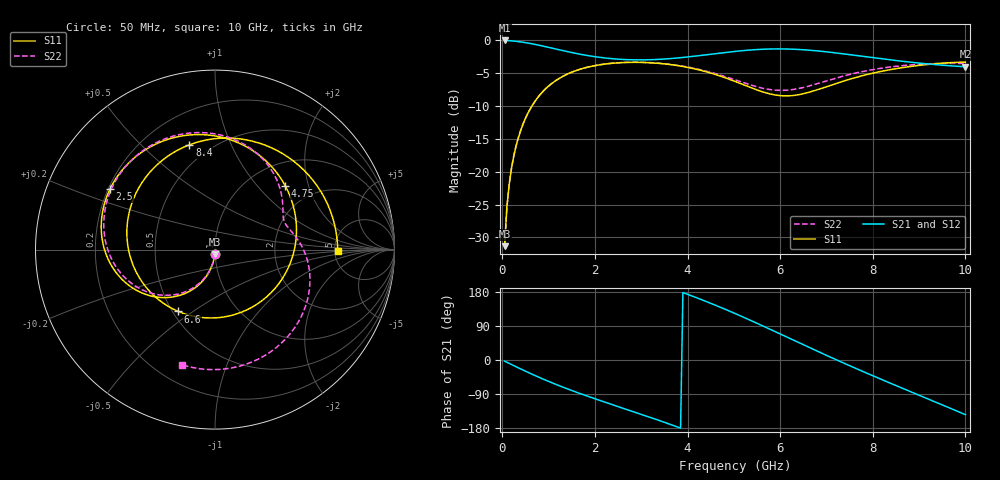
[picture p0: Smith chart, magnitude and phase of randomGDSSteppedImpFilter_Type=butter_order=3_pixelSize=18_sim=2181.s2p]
! freq	dB(S11)	phase(S11)	dB(S12)	phase(S12)
!  dB(S21)	phase(S21)	dB(S22)	phase(S22)
!S-par simulation data
#  GHz  S  DB  R 50
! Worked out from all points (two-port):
!   200 points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, 50 MHz to 10 GHz, reference 50 ohm
!   highest |S21| = -0.01 dB at 50 MHz (marker M1); lowest = -4.0 dB at 10 GHz (marker M2)
!   |S21| within 3 dB of the highest: start of sweep to 8.428 GHz
!   lowest |S11| = -31.3 dB at 50 MHz (marker M3), VSWR 1.06, Z = 49.8 - j2.7 ohm
!   |S11| at or under -10 dB: start of sweep to 639.2 MHz
!   |S22| runs from -31.3 to -3.3 dB; largest |S21 - S12| = 0
!   S11 on the Smith chart (normalised r, x): 50 MHz: 1.00, -0.05; 2.5 GHz: 0.21, +0.26; 4.75 GHz: 1.45, +1.43; 6.6 GHz: 0.53, -0.44; 8.4 GHz: 0.39, +0.71; 10 GHz: 5.32, -0.20
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0.05  -31.34 -93.0  -0.01 -3.0  -0.01 -3.0  -31.34 -93.2
0.1  -25.34 -96.2  -0.02 -6.1  -0.02 -6.1  -25.34 -96.5
0.2  -19.41 -102.2  -0.07 -12.0  -0.07 -12.0  -19.41 -102.9
0.5  -11.87 -119.3  -0.34 -29.5  -0.34 -29.5  -11.87 -121.0
1.05  -6.66 -147.9  -1.14 -59.0  -1.14 -59.0  -6.66 -151.3
1.75  -4.24 -179.4  -2.19 -91.6  -2.19 -91.6  -4.24 175.1
2.5  -3.41 150.1  -2.86 -122.9  -2.86 -122.9  -3.40 143.1
3.4  -3.51 112.9  -2.88 -160.1  -2.88 -160.1  -3.48 106.4
4.1  -4.25 79.8  -2.44 168.8  -2.44 168.8  -4.18 78.1
4.75  -5.53 42.2  -1.89 137.1  -1.89 137.1  -5.37 53.4
5.05  -6.31 21.6  -1.65 121.4  -1.65 121.4  -6.06 43.4
5.8  -8.18 -42.3  -1.30 80.1  -1.30 80.1  -7.50 25.6
6.2  -8.44 -82.0  -1.32 57.3  -1.32 57.3  -7.54 19.0
6.6  -7.94 -120.8  -1.47 34.6  -1.47 34.6  -6.99 11.0
6.7  -7.74 -129.9  -1.53 29.0  -1.53 29.0  -6.80 8.6
7.5  -5.91 165.5  -2.17 -15.1  -2.17 -15.1  -5.19 -16.1
7.9  -5.16 137.3  -2.54 -36.3  -2.54 -36.3  -4.57 -30.4
8.35  -4.49 107.1  -2.94 -59.7  -2.94 -59.7  -4.07 -46.9
8.4  -4.42 103.8  -2.98 -62.3  -2.98 -62.3  -4.02 -48.7
9.15  -3.69 54.8  -3.56 -100.6  -3.56 -100.6  -3.58 -75.7
9.6  -3.42 25.4  -3.83 -123.6  -3.83 -123.6  -3.49 -91.8
10  -3.30 -0.8  -4.02 -144.3  -4.02 -144.3  -3.52 -106.2
